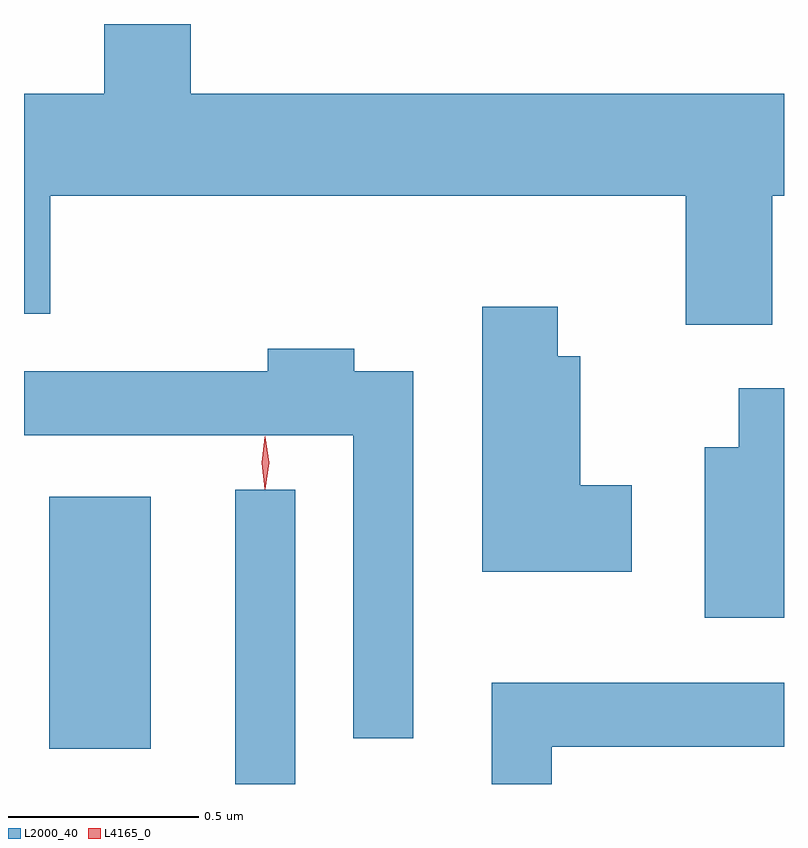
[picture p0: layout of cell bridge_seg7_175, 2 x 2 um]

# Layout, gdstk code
import gdstk
lib = gdstk.Library(unit=1e-6, precision=1e-09)
def R(c, l, rs):  # rectangles x0, y0, x1, y1
    for r in rs: c.add(gdstk.rectangle(r[:2], r[2:], *l))
def P(c, l, *ps):  # polygons
    for p in ps: c.add(gdstk.Polygon(p, *l))
L2000_40 = (2000, 40)
L4165_0 = (4165, 0)

bridge_seg7_175 = lib.new_cell('bridge_seg7_175')
R(bridge_seg7_175, L2000_40, [(1499.656,1697.228,1499.814,1698.003), (1499.166,1697.321,1499.434,1697.984)])
P(bridge_seg7_175, L2000_40, [(1501.069,1698.776),(1501.1,1698.776),(1501.1,1699.044),(1499.539,1699.044),(1499.539,1699.228),(1499.311,1699.228),(1499.311,1699.044),(1499.1,1699.044),(1499.1,1698.466),(1499.169,1698.466),(1499.169,1698.776),(1500.841,1698.776),(1500.841,1698.436),(1501.069,1698.436)],
  [(1500.699,1698.014),(1500.564,1698.014),(1500.564,1698.354),(1500.504,1698.354),(1500.504,1698.484),(1500.306,1698.484),(1500.306,1697.786),(1500.699,1697.786)],
  [(1500.124,1698.314),(1499.969,1698.314),(1499.969,1698.374),(1499.741,1698.374),(1499.741,1698.314),(1499.1,1698.314),(1499.1,1698.146),(1499.966,1698.146),(1499.966,1697.348),(1500.124,1697.348)],
  [(1501.1,1698.269),(1500.981,1698.269),(1500.981,1698.114),(1500.891,1698.114),(1500.891,1697.666),(1501.1,1697.666)],
  [(1500.489,1697.326),(1501.1,1697.326),(1501.1,1697.494),(1500.331,1697.494),(1500.331,1697.228),(1500.489,1697.228)])
P(bridge_seg7_175, L4165_0, [(1499.734,1698.004),(1499.725,1698.073),(1499.734,1698.142),(1499.735,1698.143),(1499.735,1698.142),(1499.745,1698.073),(1499.735,1698.004),(1499.735,1698.004)],
  [(1499.734,1698.007),(1499.725,1698.074),(1499.734,1698.14),(1499.735,1698.14),(1499.735,1698.14),(1499.745,1698.074),(1499.735,1698.007),(1499.735,1698.007)])

lib.write_gds('bridge_seg7_175.gds')
